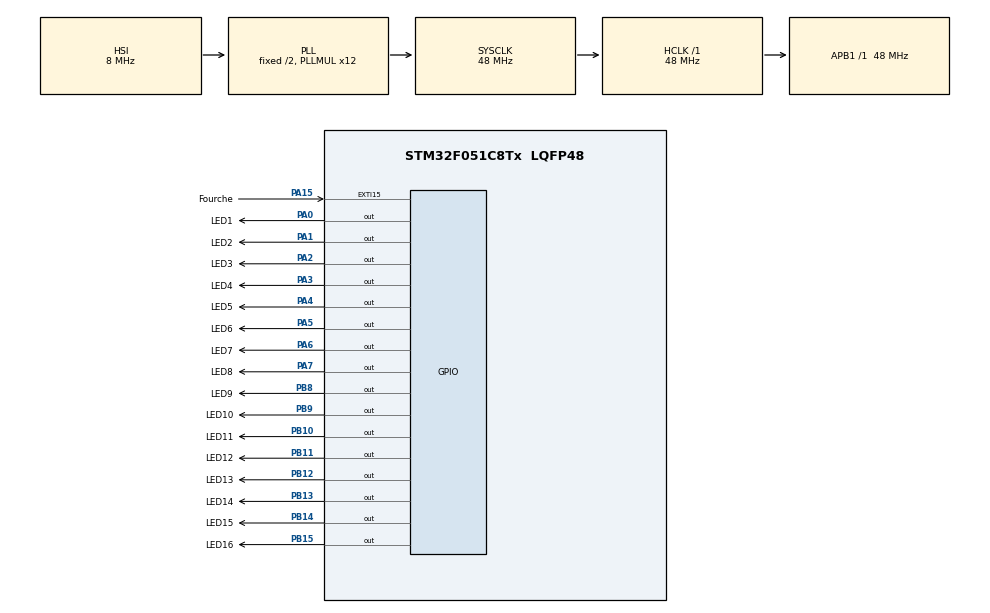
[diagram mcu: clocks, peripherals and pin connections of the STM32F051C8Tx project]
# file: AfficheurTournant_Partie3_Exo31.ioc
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Mcu.Family=STM32F0
Mcu.Name=STM32F051C8Tx
Mcu.Package=LQFP48
Mcu.UserConstants=PSC_TIM17,47;PSC_TIM3,180
NVIC.EXTI4_15_IRQn=true\:0\:0\:false\:false\:true\:true
NVIC.TIM17_IRQn=true\:0\:0\:false\:false\:true\:true
NVIC.TIM3_IRQn=true\:0\:0\:false\:false\:true\:true
PA0.GPIO_Label=LED1
PA0.GPIO_Speed=GPIO_SPEED_FREQ_HIGH
PA0.PinState=GPIO_PIN_SET
PA0.Signal=GPIO_Output
PA1.GPIO_Label=LED2
PA1.GPIO_Speed=GPIO_SPEED_FREQ_HIGH
PA1.PinState=GPIO_PIN_SET
PA1.Signal=GPIO_Output
PA15.GPIO_Label=Fourche
PA15.Signal=GPXTI15
PA2.GPIO_Label=LED3
PA2.GPIO_Speed=GPIO_SPEED_FREQ_HIGH
PA2.PinState=GPIO_PIN_SET
PA2.Signal=GPIO_Output
PA3.GPIO_Label=LED4
PA3.GPIO_Speed=GPIO_SPEED_FREQ_HIGH
PA3.PinState=GPIO_PIN_SET
PA3.Signal=GPIO_Output
PA4.GPIO_Label=LED5
PA4.GPIO_Speed=GPIO_SPEED_FREQ_HIGH
PA4.PinState=GPIO_PIN_SET
PA4.Signal=GPIO_Output
PA5.GPIO_Label=LED6
PA5.GPIO_Speed=GPIO_SPEED_FREQ_HIGH
PA5.PinState=GPIO_PIN_SET
PA5.Signal=GPIO_Output
PA6.GPIO_Label=LED7
PA6.GPIO_Speed=GPIO_SPEED_FREQ_HIGH
PA6.PinState=GPIO_PIN_SET
PA6.Signal=GPIO_Output
PA7.GPIO_Label=LED8
PA7.GPIO_Speed=GPIO_SPEED_FREQ_HIGH
PA7.PinState=GPIO_PIN_SET
PA7.Signal=GPIO_Output
PB10.GPIO_Label=LED11
PB10.GPIO_Speed=GPIO_SPEED_FREQ_HIGH
PB10.PinState=GPIO_PIN_SET
PB10.Signal=GPIO_Output
PB11.GPIO_Label=LED12
PB11.GPIO_Speed=GPIO_SPEED_FREQ_HIGH
PB11.PinState=GPIO_PIN_SET
PB11.Signal=GPIO_Output
PB12.GPIO_Label=LED13
PB12.GPIO_Speed=GPIO_SPEED_FREQ_HIGH
PB12.PinState=GPIO_PIN_SET
PB12.Signal=GPIO_Output
PB13.GPIO_Label=LED14
PB13.GPIO_Speed=GPIO_SPEED_FREQ_HIGH
PB13.PinState=GPIO_PIN_SET
PB13.Signal=GPIO_Output
PB14.GPIO_Label=LED15
PB14.GPIO_Speed=GPIO_SPEED_FREQ_HIGH
PB14.PinState=GPIO_PIN_SET
PB14.Signal=GPIO_Output
PB15.GPIO_Label=LED16
PB15.GPIO_Speed=GPIO_SPEED_FREQ_HIGH
PB15.PinState=GPIO_PIN_SET
PB15.Signal=GPIO_Output
PB8.GPIO_Label=LED9
PB8.GPIO_Speed=GPIO_SPEED_FREQ_HIGH
PB8.PinState=GPIO_PIN_SET
PB8.Signal=GPIO_Output
PB9.GPIO_Label=LED10
PB9.GPIO_Speed=GPIO_SPEED_FREQ_HIGH
PB9.PinState=GPIO_PIN_SET
PB9.Signal=GPIO_Output
ProjectManager.HeapSize=0x200
ProjectManager.StackSize=0x400
ProjectManager.TargetToolchain=MDK-ARM V4
RCC.AHBFreq_Value=48000000
RCC.APB1Freq_Value=48000000
RCC.APB1TimFreq_Value=48000000
RCC.HCLKFreq_Value=48000000
RCC.PLLMUL=RCC_PLL_MUL12
RCC.SYSCLKFreq_VALUE=48000000
RCC.SYSCLKSource=RCC_SYSCLKSOURCE_PLLCLK
TIM17.Period=0xFFFF
TIM17.Prescaler=PSC_TIM17
TIM3.Period=345
TIM3.Prescaler=PSC_TIM3
VP_TIM17_VS_ClockSourceINT.Mode=Enable_Timer
VP_TIM3_VS_ClockSourceINT.Mode=Internal
board=AfficheurTournant_Partie3_Exo31

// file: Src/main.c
/**
  ******************************************************************************
  * @file           : main.c
  * @brief          : Main program body
  ******************************************************************************
  ** This notice applies to any and all portions of this file
  * that are not between comment pairs USER CODE BEGIN and
  * USER CODE END. Other portions of this file, whether
  * inserted by the user or by software development tools
  * are owned by their respective copyright owners.
  *
  * COPYRIGHT(c) 2020 STMicroelectronics
  *
  * Redistribution and use in source and binary forms, with or without modification,
  * are permitted provided that the following conditions are met:
  *   1. Redistributions of source code must retain the above copyright notice,
  *      this list of conditions and the following disclaimer.
  *   2. Redistributions in binary form must reproduce the above copyright notice,
  *      this list of conditions and the following disclaimer in the documentation
  *      and/or other materials provided with the distribution.
  *   3. Neither the name of STMicroelectronics nor the names of its contributors
  *      may be used to endorse or promote products derived from this software
  *      without specific prior written permission.
  *
  * THIS SOFTWARE IS PROVIDED BY THE COPYRIGHT HOLDERS AND CONTRIBUTORS "AS IS"
  * AND ANY EXPRESS OR IMPLIED WARRANTIES, INCLUDING, BUT NOT LIMITED TO, THE
  * IMPLIED WARRANTIES OF MERCHANTABILITY AND FITNESS FOR A PARTICULAR PURPOSE ARE
  * DISCLAIMED. IN NO EVENT SHALL THE COPYRIGHT HOLDER OR CONTRIBUTORS BE LIABLE
  * FOR ANY DIRECT, INDIRECT, INCIDENTAL, SPECIAL, EXEMPLARY, OR CONSEQUENTIAL
  * DAMAGES (INCLUDING, BUT NOT LIMITED TO, PROCUREMENT OF SUBSTITUTE GOODS OR
  * SERVICES; LOSS OF USE, DATA, OR PROFITS; OR BUSINESS INTERRUPTION) HOWEVER
  * CAUSED AND ON ANY THEORY OF LIABILITY, WHETHER IN CONTRACT, STRICT LIABILITY,
  * OR TORT (INCLUDING NEGLIGENCE OR OTHERWISE) ARISING IN ANY WAY OUT OF THE USE
  * OF THIS SOFTWARE, EVEN IF ADVISED OF THE POSSIBILITY OF SUCH DAMAGE.
  *
  ******************************************************************************
  */
#include "main.h"
#include "stm32f0xx_hal.h"

/* USER CODE BEGIN Includes */
#include "LibCaracteres.h"
/* USER CODE END Includes */

TIM_HandleTypeDef htim3;
TIM_HandleTypeDef htim17;

/* USER CODE BEGIN PV */
/* Private variables ---------------------------------------------------------*/
// Tableau de caracteres pour toute la zone d'affichage

static unsigned char Motif_Afficheur [180]={
0xFF,0xFF,0xFF,0xFF,0xFF,0xFF,
0x80,0xF6,0xF6,0xF6,0xF9,0xFF,    //P
0x80,0xBE,0xBE,0xBE,0x80,0xFF,    //O
0x80,0xBF,0xBF,0xBF,0xBF,0xFF,    //L
0xFE,0xFD,0x83,0xFD,0xFE,0xFF,    //Y
0xFE,0xFE,0x80,0xFE,0xFE,0xFF,    //T
0x80,0xB6,0xB6,0xBE,0xBE,0xFF,    //E
0x80,0xBE,0xBE,0xBE,0xBE,0xFF,    //C
0x80,0xF7,0xF7,0xF7,0x80,0xFF,    //H
0xFF,0xFF,0xFF,0xFF,0xFF,0xFF,
0xFF,0xFF,0xFF,0xFF,0xFF,0xFF,
0xFF,0xFF,0xFF,0xFF,0xFF,0xFF,
0xFF,0xFF,0xFF,0xFF,0xFF,0xFF,
0xFF,0xFF,0xFF,0xFF,0xFF,0xFF,
0xFF,0xFF,0xFF,0xFF,0xFF,0xFF,
0xFF,0xFF,0xFF,0xFF,0xFF,0xFF,
0xFF,0xFF,0xFF,0xFF,0xFF,0xFF,
0xFF,0xFF,0xFF,0xFF,0xFF,0xFF,
0xFF,0xFF,0xFF,0xFF,0xFF,0xFF,
0xFF,0xFF,0xFF,0xFF,0xFF,0xFF,
0xFF,0xFF,0xFF,0xFF,0xFF,0xFF,
0xFF,0xFF,0xFF,0xFF,0xFF,0xFF,
0xFF,0xFF,0xFF,0xFF,0xFF,0xFF,
0xFF,0xFF,0xFF,0xFF,0xFF,0xFF,
0xFF,0xFF,0xFF,0xFF,0xFF,0xFF,
0xFF,0xFF,0xFF,0xFF,0xFF,0xFF,
0xFF,0xFF,0xFF,0xFF,0xFF,0xFF,
0xFF,0xFF,0xFF,0xFF,0xFF,0xFF,
0xFF,0xFF,0xFF,0xFF,0xFF,0xFF,
0xFF,0xFF,0xFF,0xFF,0xFF,0XFF
};

/* declarer la variable globale : drapeau interruption externe de la Patte PA15 : fourche */
// mettre votre code en dessous
volatile unsigned int tour = 0;
/* declarer la variable globale : drapeau interruption duree pixel  : Timer TIM3 */
// mettre votre code en dessous
volatile unsigned int timer3 = 0;
/* declarer la variable globale : drapeau interruption duree tour complet  : Timer TIM17 */
// mettre votre code en dessous
volatile unsigned int timer17 = 0;
/* USER CODE END PV */

void SystemClock_Config(void);
static void MX_GPIO_Init(void);
static void MX_TIM3_Init(void);
static void MX_TIM17_Init(void);

/* USER CODE BEGIN PFP */
/* Private function prototypes -----------------------------------------------*/

/* USER CODE END PFP */

int main(void)
{
  /* USER CODE BEGIN 1 */
  /* declarer la variable locale qui compte le nombre de pixel ou colonne */
  // mettre votre code en dessous
	unsigned int pixel = 0;
	/* variable local pour choix de la ligne*/
	unsigned int ligne = 0;

  /* USER CODE END 1 */

  /* MCU Configuration----------------------------------------------------------*/

  /* Reset of all peripherals, Initializes the Flash interface and the Systick. */
  HAL_Init();

  /* Configure the system clock */
  SystemClock_Config();

  /* Initialize all configured peripherals */
  MX_GPIO_Init();
  MX_TIM3_Init();
  MX_TIM17_Init();
  /* USER CODE BEGIN 2 */
  HAL_TIM_Base_Start_IT(&htim3);
  HAL_TIM_Base_Start_IT(&htim17);

  /* USER CODE END 2 */

  /* Infinite loop */
  while (1)
  {

  /* USER CODE BEGIN 3 */

	  if (tour ==1) /* test si le drapeau interruption externe PA15 est a '1' */
	  {
	    /* reset du drapeau interruption externe PA15 pour synchroniser avec la routine d'interruption*/
   		tour = 0;
      /*reset du compteur de colonne*/
      pixel = 0;
			/* incrémentation de la variable ligne*/
			ligne++;
		  if ((TIM17->CR1&(1<<0))==0) // test si le bit b0 de TIM17_CR1 est à 0
		  {
			 /*si oui alors demarrer le timer TIM17 : mettre à '1' le bit b0 de TIM17_CR1  */
        TIM17->CR1 |= (1<<0);
			 /* Demasquer la demande interruption du timer TIM17 : utiliser la fonction NVIC_EnableIRQ(Numero_IRQn) */
				NVIC_EnableIRQ(TIM17_IRQn);
		  }
		  else    // si le TIMER TIM17 n'est pas arreter
		  {
			  /* arreter le timer TIM17 */
        /* passer le bit b0 de TIM17 à 0*/
			  TIM17->CR1 &=~(1<<0);
        /* masquer sa demande interruption du TIM17 : utiliser la fonction NVIC_DisableIRQ(Numero_IRQn)*/
        NVIC_DisableIRQ(TIM17_IRQn);
			  /* arreter le timer TIM3 */
        /* passer le bit b0 de TIM3 à 0*/
				TIM3->CR1 &=~(1<<0);
			  /* masquer la demande interruption du Timer TIM3 : utiliser la fonction NVIC_DisableIRQ(Numero_IRQn)*/
				NVIC_DisableIRQ(TIM3_IRQn);
			  /* copier la valeur du compteur de TIM17 (TIM17_CNT) dans le registre TIM3_ARR du TIMER TIM3 */
				TIM3->ARR = (TIM17->CNT);
			  /* mettre a zero le compteur de TIM3 */
				TIM3->CNT = 0;
			  /* Demarrer le Timer TIM3 */
			  /*passer le bit b0 de TIM3 à 1*/
			  TIM3->CR1 |=(1<<0);
			  /* Demasquer la demande interruption de TIM3 : utiliser la fonction NVIC_EnableIRQ(Numero_IRQn) */
				NVIC_EnableIRQ(TIM3_IRQn);
			  /* mettre a zero le compteur de TIM17 */
				TIM17->CNT = 0;
			  /* Demarrer le Timer TIM17 */
			  /* passer le bit b0 de TIM17 à 1*/
				TIM17->CR1 |= (1<<0);
			  /* Demasquer la demande interruption de TIM17 : utiliser la fonction NVIC_EnableIRQ(Numero_IRQn) */
			  NVIC_EnableIRQ(TIM17_IRQn);
		  }
	  }

	  if (timer3 ==1) /* test si le drapeau interruption Timer duree Pixel a '1' : TIM3 */
	  {
		  /* remettre le drapeau interruption Timer dureePixel a '0' : TIM3 */
			timer3 = 0;
		  /* realiser affichage d'une colonne */
			if (ligne <=32) /* si ligne <= 32 on affiche la ligne A*/
			{
				GPIOA->ODR &= Motif_Afficheur [pixel];
			}
			if((ligne>32)&&(ligne<=64)) /* si ligne compris entre 33 et 64 on affiche la ligne B*/
			{
				GPIOB->ODR &=(Motif_Afficheur [pixel]<<8);
			}
			if(ligne >64)
			{
				ligne = 0;
			}
		  /* preparer pour l'affichage de la colonne suivante */
			GPIOB->ODR |= (0xFF00);
			GPIOA->ODR |= (0x00FF);
			pixel++;
	  }

	  if (timer17==1) /* test si le drapeau interruption Timer duree tour complet vaut '1' : TIM17 */
	  {

		  /* remettre le drapeau interruption Timer dureePixel a '0' : TIM3 */
			timer17 = 0;
		  /* arreter le timer TIM17 */
			/* passer le bit b0 de TIM17 à 0*/
		  TIM17->CR1 &=~(1<<0);
		  /* masquer la demande interruption du TIM17 */
			NVIC_DisableIRQ(TIM17_IRQn);
		  /* arreter le timer TIM3 */
		  /* passer le bit b0 de TIM3 à 0*/
			TIM3->CR1 &=~(1<<0);
		 /* masquer la demande interruption du TIM17 */
			NVIC_DisableIRQ(TIM3_IRQn);
	  }

  }
  /* USER CODE END 3 */

}

void SystemClock_Config(void)
{

  RCC_OscInitTypeDef RCC_OscInitStruct;
  RCC_ClkInitTypeDef RCC_ClkInitStruct;

    /**Initializes the CPU, AHB and APB busses clocks
    */
  RCC_OscInitStruct.OscillatorType = RCC_OSCILLATORTYPE_HSI;
  RCC_OscInitStruct.HSIState = RCC_HSI_ON;
  RCC_OscInitStruct.HSICalibrationValue = 16;
  RCC_OscInitStruct.PLL.PLLState = RCC_PLL_ON;
  RCC_OscInitStruct.PLL.PLLSource = RCC_PLLSOURCE_HSI;
  RCC_OscInitStruct.PLL.PLLMUL = RCC_PLL_MUL12;
  RCC_OscInitStruct.PLL.PREDIV = RCC_PREDIV_DIV1;
  if (HAL_RCC_OscConfig(&RCC_OscInitStruct) != HAL_OK)
  {
    _Error_Handler(__FILE__, __LINE__);
  }

    /**Initializes the CPU, AHB and APB busses clocks
    */
  RCC_ClkInitStruct.ClockType = RCC_CLOCKTYPE_HCLK|RCC_CLOCKTYPE_SYSCLK
                              |RCC_CLOCKTYPE_PCLK1;
  RCC_ClkInitStruct.SYSCLKSource = RCC_SYSCLKSOURCE_PLLCLK;
  RCC_ClkInitStruct.AHBCLKDivider = RCC_SYSCLK_DIV1;
  RCC_ClkInitStruct.APB1CLKDivider = RCC_HCLK_DIV1;

  if (HAL_RCC_ClockConfig(&RCC_ClkInitStruct, FLASH_LATENCY_1) != HAL_OK)
  {
    _Error_Handler(__FILE__, __LINE__);
  }

    /**Configure the Systick interrupt time
    */
  HAL_SYSTICK_Config(HAL_RCC_GetHCLKFreq()/1000);

    /**Configure the Systick
    */
  HAL_SYSTICK_CLKSourceConfig(SYSTICK_CLKSOURCE_HCLK);

  /* SysTick_IRQn interrupt configuration */
  HAL_NVIC_SetPriority(SysTick_IRQn, 0, 0);
}

/* TIM3 init function */
static void MX_TIM3_Init(void)
{

  TIM_ClockConfigTypeDef sClockSourceConfig;
  TIM_MasterConfigTypeDef sMasterConfig;

  htim3.Instance = TIM3;
  htim3.Init.Prescaler = PSC_TIM3;
  htim3.Init.CounterMode = TIM_COUNTERMODE_UP;
  htim3.Init.Period = 345;
  htim3.Init.ClockDivision = TIM_CLOCKDIVISION_DIV1;
  htim3.Init.AutoReloadPreload = TIM_AUTORELOAD_PRELOAD_DISABLE;
  if (HAL_TIM_Base_Init(&htim3) != HAL_OK)
  {
    _Error_Handler(__FILE__, __LINE__);
  }

  sClockSourceConfig.ClockSource = TIM_CLOCKSOURCE_INTERNAL;
  if (HAL_TIM_ConfigClockSource(&htim3, &sClockSourceConfig) != HAL_OK)
  {
    _Error_Handler(__FILE__, __LINE__);
  }

  sMasterConfig.MasterOutputTrigger = TIM_TRGO_RESET;
  sMasterConfig.MasterSlaveMode = TIM_MASTERSLAVEMODE_DISABLE;
  if (HAL_TIMEx_MasterConfigSynchronization(&htim3, &sMasterConfig) != HAL_OK)
  {
    _Error_Handler(__FILE__, __LINE__);
  }

}

/* TIM17 init function */
static void MX_TIM17_Init(void)
{

  htim17.Instance = TIM17;
  htim17.Init.Prescaler = PSC_TIM17;
  htim17.Init.CounterMode = TIM_COUNTERMODE_UP;
  htim17.Init.Period = 0xFFFF;
  htim17.Init.ClockDivision = TIM_CLOCKDIVISION_DIV1;
  htim17.Init.RepetitionCounter = 0;
  htim17.Init.AutoReloadPreload = TIM_AUTORELOAD_PRELOAD_DISABLE;
  if (HAL_TIM_Base_Init(&htim17) != HAL_OK)
  {
    _Error_Handler(__FILE__, __LINE__);
  }

}

/** Configure pins as
        * Analog
        * Input
        * Output
        * EVENT_OUT
        * EXTI
*/
static void MX_GPIO_Init(void)
{

  GPIO_InitTypeDef GPIO_InitStruct;

  /* GPIO Ports Clock Enable */
  __HAL_RCC_GPIOA_CLK_ENABLE();
  __HAL_RCC_GPIOB_CLK_ENABLE();

  /*Configure GPIO pin Output Level */
  HAL_GPIO_WritePin(GPIOA, LED1_Pin|LED2_Pin|LED3_Pin|LED4_Pin
                          |LED5_Pin|LED6_Pin|LED7_Pin|LED8_Pin, GPIO_PIN_SET);

  /*Configure GPIO pin Output Level */
  HAL_GPIO_WritePin(GPIOB, LED11_Pin|LED12_Pin|LED13_Pin|LED14_Pin
                          |LED15_Pin|LED16_Pin|LED9_Pin|LED10_Pin, GPIO_PIN_SET);

  /*Configure GPIO pins : LED1_Pin LED2_Pin LED3_Pin LED4_Pin
                           LED5_Pin LED6_Pin LED7_Pin LED8_Pin */
  GPIO_InitStruct.Pin = LED1_Pin|LED2_Pin|LED3_Pin|LED4_Pin
                          |LED5_Pin|LED6_Pin|LED7_Pin|LED8_Pin;
  GPIO_InitStruct.Mode = GPIO_MODE_OUTPUT_PP;
  GPIO_InitStruct.Pull = GPIO_NOPULL;
  GPIO_InitStruct.Speed = GPIO_SPEED_FREQ_HIGH;
  HAL_GPIO_Init(GPIOA, &GPIO_InitStruct);

  /*Configure GPIO pins : LED11_Pin LED12_Pin LED13_Pin LED14_Pin
                           LED15_Pin LED16_Pin LED9_Pin LED10_Pin */
  GPIO_InitStruct.Pin = LED11_Pin|LED12_Pin|LED13_Pin|LED14_Pin
                          |LED15_Pin|LED16_Pin|LED9_Pin|LED10_Pin;
  GPIO_InitStruct.Mode = GPIO_MODE_OUTPUT_PP;
  GPIO_InitStruct.Pull = GPIO_NOPULL;
  GPIO_InitStruct.Speed = GPIO_SPEED_FREQ_HIGH;
  HAL_GPIO_Init(GPIOB, &GPIO_InitStruct);

  /*Configure GPIO pin : Fourche_Pin */
  GPIO_InitStruct.Pin = Fourche_Pin;
  GPIO_InitStruct.Mode = GPIO_MODE_IT_RISING;
  GPIO_InitStruct.Pull = GPIO_NOPULL;
  HAL_GPIO_Init(Fourche_GPIO_Port, &GPIO_InitStruct);

  /* EXTI interrupt init*/
  HAL_NVIC_SetPriority(EXTI4_15_IRQn, 0, 0);
  HAL_NVIC_EnableIRQ(EXTI4_15_IRQn);

}

/* USER CODE BEGIN 4 */

/*===============================================================================
  FUNCTION:     HAL_GPIO_EXTI_Callback(uint16_t GPIO_Pin)
  DESCRIPTION:  Fonction CallBack : appeler a chaque changement état sur les pattes
  PARAMETERS:   rien
  RETURNS:      rien
  REQUIREMENTS: la patte doit etre configurer en interruption externe
===============================================================================*/

void HAL_GPIO_EXTI_Callback(uint16_t GPIO_Pin)
{
	if (GPIO_Pin==Fourche_Pin)  // Test si c'est la patte PA15
	{
		/* Mettre a '1' le drapeau interruption externe de la Patte PA15 : fourche */
		tour =1;
	}
}

/*===============================================================================
  FUNCTION:     HAL_TIM_PeriodElapsedCallback(TIM_HandleTypeDef *htim)
  DESCRIPTION:  Fonction CallBack : appeler a chaque changement état sur la patte PA15
  PARAMETERS:   rien
  RETURNS:      rien
  REQUIREMENTS: rien
===============================================================================*/
void HAL_TIM_PeriodElapsedCallback(TIM_HandleTypeDef *htim)
{
	if (htim->Instance == TIM3)
	{
		/* Mettre a '1' le drapeau interruption duree pixel ou colonne : TIM3 */
		timer3 = 1;
	}

	if (htim->Instance == TIM17)
	{
		/* Mettre a '1' le drapeau interruption duree tour complet : TIM17 */
		timer17 = 1;
	}
}

/* USER CODE END 4 */

void _Error_Handler(char *file, int line)
{
  while(1)
  {
  }
}

/************************ (C) COPYRIGHT STMicroelectronics *****END OF FILE****/
